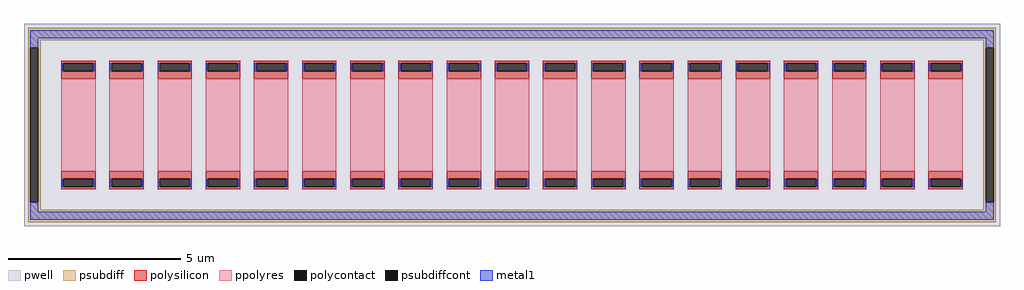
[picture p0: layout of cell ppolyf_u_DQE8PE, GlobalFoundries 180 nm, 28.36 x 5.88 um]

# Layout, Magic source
magic
tech gf180mcuD
magscale 1 10
<< pwell >>
rect -2836 -588 2836 588
<< psubdiff >>
rect -2812 492 2812 564
rect -2812 448 -2740 492
rect -2812 -448 -2799 448
rect -2753 -448 -2740 448
rect 2740 448 2812 492
rect -2812 -492 -2740 -448
rect 2740 -448 2753 448
rect 2799 -448 2812 448
rect 2740 -492 2812 -448
rect -2812 -564 2812 -492
<< psubdiffcont >>
rect -2799 -448 -2753 448
rect 2753 -448 2799 448
<< polysilicon >>
rect -2620 359 -2420 372
rect -2620 313 -2607 359
rect -2433 313 -2420 359
rect -2620 270 -2420 313
rect -2620 -313 -2420 -270
rect -2620 -359 -2607 -313
rect -2433 -359 -2420 -313
rect -2620 -372 -2420 -359
rect -2340 359 -2140 372
rect -2340 313 -2327 359
rect -2153 313 -2140 359
rect -2340 270 -2140 313
rect -2340 -313 -2140 -270
rect -2340 -359 -2327 -313
rect -2153 -359 -2140 -313
rect -2340 -372 -2140 -359
rect -2060 359 -1860 372
rect -2060 313 -2047 359
rect -1873 313 -1860 359
rect -2060 270 -1860 313
rect -2060 -313 -1860 -270
rect -2060 -359 -2047 -313
rect -1873 -359 -1860 -313
rect -2060 -372 -1860 -359
rect -1780 359 -1580 372
rect -1780 313 -1767 359
rect -1593 313 -1580 359
rect -1780 270 -1580 313
rect -1780 -313 -1580 -270
rect -1780 -359 -1767 -313
rect -1593 -359 -1580 -313
rect -1780 -372 -1580 -359
rect -1500 359 -1300 372
rect -1500 313 -1487 359
rect -1313 313 -1300 359
rect -1500 270 -1300 313
rect -1500 -313 -1300 -270
rect -1500 -359 -1487 -313
rect -1313 -359 -1300 -313
rect -1500 -372 -1300 -359
rect -1220 359 -1020 372
rect -1220 313 -1207 359
rect -1033 313 -1020 359
rect -1220 270 -1020 313
rect -1220 -313 -1020 -270
rect -1220 -359 -1207 -313
rect -1033 -359 -1020 -313
rect -1220 -372 -1020 -359
rect -940 359 -740 372
rect -940 313 -927 359
rect -753 313 -740 359
rect -940 270 -740 313
rect -940 -313 -740 -270
rect -940 -359 -927 -313
rect -753 -359 -740 -313
rect -940 -372 -740 -359
rect -660 359 -460 372
rect -660 313 -647 359
rect -473 313 -460 359
rect -660 270 -460 313
rect -660 -313 -460 -270
rect -660 -359 -647 -313
rect -473 -359 -460 -313
rect -660 -372 -460 -359
rect -380 359 -180 372
rect -380 313 -367 359
rect -193 313 -180 359
rect -380 270 -180 313
rect -380 -313 -180 -270
rect -380 -359 -367 -313
rect -193 -359 -180 -313
rect -380 -372 -180 -359
rect -100 359 100 372
rect -100 313 -87 359
rect 87 313 100 359
rect -100 270 100 313
rect -100 -313 100 -270
rect -100 -359 -87 -313
rect 87 -359 100 -313
rect -100 -372 100 -359
rect 180 359 380 372
rect 180 313 193 359
rect 367 313 380 359
rect 180 270 380 313
rect 180 -313 380 -270
rect 180 -359 193 -313
rect 367 -359 380 -313
rect 180 -372 380 -359
rect 460 359 660 372
rect 460 313 473 359
rect 647 313 660 359
rect 460 270 660 313
rect 460 -313 660 -270
rect 460 -359 473 -313
rect 647 -359 660 -313
rect 460 -372 660 -359
rect 740 359 940 372
rect 740 313 753 359
rect 927 313 940 359
rect 740 270 940 313
rect 740 -313 940 -270
rect 740 -359 753 -313
rect 927 -359 940 -313
rect 740 -372 940 -359
rect 1020 359 1220 372
rect 1020 313 1033 359
rect 1207 313 1220 359
rect 1020 270 1220 313
rect 1020 -313 1220 -270
rect 1020 -359 1033 -313
rect 1207 -359 1220 -313
rect 1020 -372 1220 -359
rect 1300 359 1500 372
rect 1300 313 1313 359
rect 1487 313 1500 359
rect 1300 270 1500 313
rect 1300 -313 1500 -270
rect 1300 -359 1313 -313
rect 1487 -359 1500 -313
rect 1300 -372 1500 -359
rect 1580 359 1780 372
rect 1580 313 1593 359
rect 1767 313 1780 359
rect 1580 270 1780 313
rect 1580 -313 1780 -270
rect 1580 -359 1593 -313
rect 1767 -359 1780 -313
rect 1580 -372 1780 -359
rect 1860 359 2060 372
rect 1860 313 1873 359
rect 2047 313 2060 359
rect 1860 270 2060 313
rect 1860 -313 2060 -270
rect 1860 -359 1873 -313
rect 2047 -359 2060 -313
rect 1860 -372 2060 -359
rect 2140 359 2340 372
rect 2140 313 2153 359
rect 2327 313 2340 359
rect 2140 270 2340 313
rect 2140 -313 2340 -270
rect 2140 -359 2153 -313
rect 2327 -359 2340 -313
rect 2140 -372 2340 -359
rect 2420 359 2620 372
rect 2420 313 2433 359
rect 2607 313 2620 359
rect 2420 270 2620 313
rect 2420 -313 2620 -270
rect 2420 -359 2433 -313
rect 2607 -359 2620 -313
rect 2420 -372 2620 -359
<< polycontact >>
rect -2607 313 -2433 359
rect -2607 -359 -2433 -313
rect -2327 313 -2153 359
rect -2327 -359 -2153 -313
rect -2047 313 -1873 359
rect -2047 -359 -1873 -313
rect -1767 313 -1593 359
rect -1767 -359 -1593 -313
rect -1487 313 -1313 359
rect -1487 -359 -1313 -313
rect -1207 313 -1033 359
rect -1207 -359 -1033 -313
rect -927 313 -753 359
rect -927 -359 -753 -313
rect -647 313 -473 359
rect -647 -359 -473 -313
rect -367 313 -193 359
rect -367 -359 -193 -313
rect -87 313 87 359
rect -87 -359 87 -313
rect 193 313 367 359
rect 193 -359 367 -313
rect 473 313 647 359
rect 473 -359 647 -313
rect 753 313 927 359
rect 753 -359 927 -313
rect 1033 313 1207 359
rect 1033 -359 1207 -313
rect 1313 313 1487 359
rect 1313 -359 1487 -313
rect 1593 313 1767 359
rect 1593 -359 1767 -313
rect 1873 313 2047 359
rect 1873 -359 2047 -313
rect 2153 313 2327 359
rect 2153 -359 2327 -313
rect 2433 313 2607 359
rect 2433 -359 2607 -313
<< ppolyres >>
rect -2620 -270 -2420 270
rect -2340 -270 -2140 270
rect -2060 -270 -1860 270
rect -1780 -270 -1580 270
rect -1500 -270 -1300 270
rect -1220 -270 -1020 270
rect -940 -270 -740 270
rect -660 -270 -460 270
rect -380 -270 -180 270
rect -100 -270 100 270
rect 180 -270 380 270
rect 460 -270 660 270
rect 740 -270 940 270
rect 1020 -270 1220 270
rect 1300 -270 1500 270
rect 1580 -270 1780 270
rect 1860 -270 2060 270
rect 2140 -270 2340 270
rect 2420 -270 2620 270
<< metal1 >>
rect -2799 505 2799 551
rect -2799 448 -2753 505
rect 2753 448 2799 505
rect -2618 313 -2607 359
rect -2433 313 -2422 359
rect -2338 313 -2327 359
rect -2153 313 -2142 359
rect -2058 313 -2047 359
rect -1873 313 -1862 359
rect -1778 313 -1767 359
rect -1593 313 -1582 359
rect -1498 313 -1487 359
rect -1313 313 -1302 359
rect -1218 313 -1207 359
rect -1033 313 -1022 359
rect -938 313 -927 359
rect -753 313 -742 359
rect -658 313 -647 359
rect -473 313 -462 359
rect -378 313 -367 359
rect -193 313 -182 359
rect -98 313 -87 359
rect 87 313 98 359
rect 182 313 193 359
rect 367 313 378 359
rect 462 313 473 359
rect 647 313 658 359
rect 742 313 753 359
rect 927 313 938 359
rect 1022 313 1033 359
rect 1207 313 1218 359
rect 1302 313 1313 359
rect 1487 313 1498 359
rect 1582 313 1593 359
rect 1767 313 1778 359
rect 1862 313 1873 359
rect 2047 313 2058 359
rect 2142 313 2153 359
rect 2327 313 2338 359
rect 2422 313 2433 359
rect 2607 313 2618 359
rect -2618 -359 -2607 -313
rect -2433 -359 -2422 -313
rect -2338 -359 -2327 -313
rect -2153 -359 -2142 -313
rect -2058 -359 -2047 -313
rect -1873 -359 -1862 -313
rect -1778 -359 -1767 -313
rect -1593 -359 -1582 -313
rect -1498 -359 -1487 -313
rect -1313 -359 -1302 -313
rect -1218 -359 -1207 -313
rect -1033 -359 -1022 -313
rect -938 -359 -927 -313
rect -753 -359 -742 -313
rect -658 -359 -647 -313
rect -473 -359 -462 -313
rect -378 -359 -367 -313
rect -193 -359 -182 -313
rect -98 -359 -87 -313
rect 87 -359 98 -313
rect 182 -359 193 -313
rect 367 -359 378 -313
rect 462 -359 473 -313
rect 647 -359 658 -313
rect 742 -359 753 -313
rect 927 -359 938 -313
rect 1022 -359 1033 -313
rect 1207 -359 1218 -313
rect 1302 -359 1313 -313
rect 1487 -359 1498 -313
rect 1582 -359 1593 -313
rect 1767 -359 1778 -313
rect 1862 -359 1873 -313
rect 2047 -359 2058 -313
rect 2142 -359 2153 -313
rect 2327 -359 2338 -313
rect 2422 -359 2433 -313
rect 2607 -359 2618 -313
rect -2799 -505 -2753 -448
rect 2753 -505 2799 -448
rect -2799 -551 2799 -505
<< properties >>
string FIXED_BBOX -2776 -528 2776 528
string gencell ppolyf_u
string library gf180mcu
string parameters w 1.0 l 2.7 m 1 nx 19 wmin 0.80 lmin 1.00 class resistor rho 315 val 901.908 dummy 0 dw 0.057 term 0.0 sterm 0.0 caplen 0.4 snake 0 guard 1 guard_type pwell glc 1 grc 1 gtc 0 gbc 0 roverlap 0 endcov 100 full_metal 1
<< end >>
